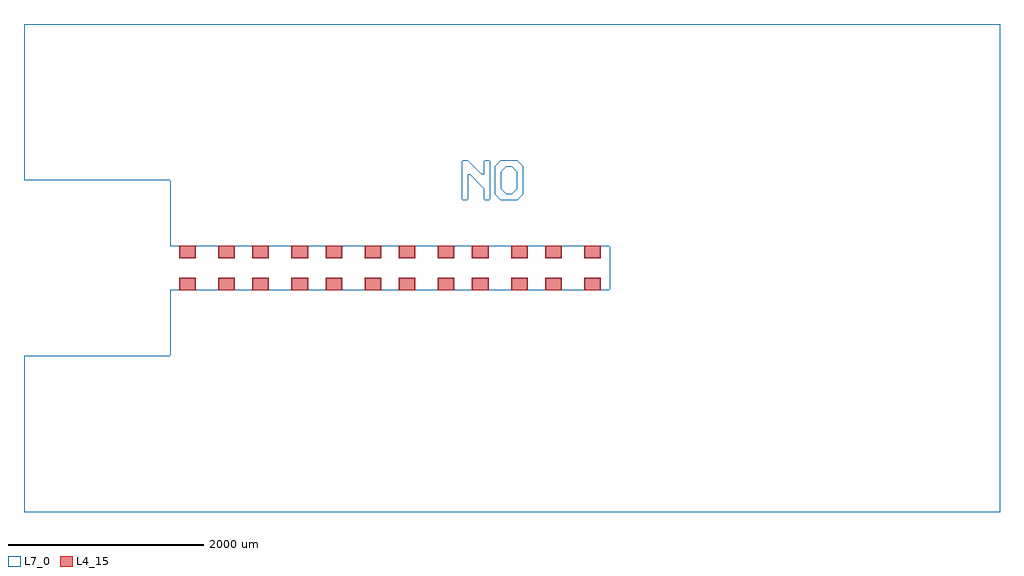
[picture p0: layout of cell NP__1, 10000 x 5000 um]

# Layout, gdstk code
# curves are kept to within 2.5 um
import gdstk
lib = gdstk.Library(unit=1e-6, precision=5e-09)
def R(c, l, rs):  # rectangles x0, y0, x1, y1
    for r in rs: c.add(gdstk.rectangle(r[:2], r[2:], *l))
def P(c, l, *ps):  # polygons
    for p in ps: c.add(gdstk.Polygon(p, *l))
L4_15 = (4, 15)
L7_0 = (7, 0)

np__1 = lib.new_cell('NP__1')
R(np__1, L4_15, [(7590,1270,7760,1400), (7990,1270,8160,1400), (8340,1270,8510,1400), (8740,1270,8910,1400), (9090,1270,9260,1400), (9490,1270,9660,1400), (9840,1270,10010,1400), (10240,1270,10410,1400), (10590,1270,10760,1400), (10990,1270,11160,1400), (11340,1270,11510,1400), (11740,1270,11910,1400), (7590,1600,7760,1730), (7990,1600,8160,1730), (8340,1600,8510,1730), (8740,1600,8910,1730), (9090,1600,9260,1730), (9490,1600,9660,1730), (9840,1600,10010,1730), (10240,1600,10410,1730), (10590,1600,10760,1730), (10990,1600,11160,1730), (11340,1600,11510,1730), (11740,1600,11910,1730)])
P(np__1, L7_0, [(10942,2200),(10770,2200),(10770,2600),(10714,2600),(10714,2460),(10686,2460),(10546,2600),(10490,2600),(10490,2200),(10546,2200),(10595,1725),(10405,1725),(10405,1605),(10245,1605),(10245,1725),(10005,1725),(10005,1605),(9845,1605),(9845,1725),(9655,1725),(9655,1605),(9495,1605),(9495,1725),(9255,1725),(9255,1605),(9095,1605),(9095,1725),(8905,1725),(8905,1605),(8745,1605),(8745,1725),(8505,1725),(8505,1605),(8345,1605),(8345,1725),(8155,1725),(8155,1605),(7995,1605),(7995,1725),(7755,1725),(7755,1605),(7595,1605),(7595,1725),(7500,1725),(7500,2400),(6000,2400),(6000,4000),(16000,4000),(16000,-1000),(6000,-1000),(6000,600),(7500,600),(7500,1275),(7595,1275),(7595,1395),(7755,1395),(7755,1275),(7995,1275),(7995,1395),(8155,1395),(8155,1275),(8345,1275),(8345,1395),(8505,1395),(8505,1275),(8745,1275),(8745,1395),(8905,1395),(8905,1275),(9095,1275),(9095,1395),(9255,1395),(9255,1275),(9495,1275),(9495,1395),(9655,1395),(9655,1275),(9845,1275),(9845,1395),(10005,1395),(10005,1275),(10245,1275),(10245,1395),(10405,1395),(10405,1275),(10595,1275),(10595,1395),(10755,1395),(10755,1275),(10995,1275),(10995,1395),(11155,1395),(11155,1275),(11345,1275),(11345,1395),(11505,1395),(11505,1275),(11745,1275),(11745,1395),(11905,1395),(11905,1275),(12000,1275),(12000,1725),(11905,1725),(11905,1605),(11745,1605),(11745,1725),(11505,1725),(11505,1605),(11345,1605),(11345,1725),(11155,1725),(11155,1605),(10995,1605),(10995,1725),(10755,1725),(10755,1605),(10595,1605),(10595,1725),(10546,2200),(10546,2460),(10574,2460),(10714,2312),(10714,2200),(11054,2200),(11110,2256),(11110,2544),(11054,2600),(10886,2600),(10830,2544),(10830,2256),(10886,2200)],
  [(10942,2256),(10886,2312),(10886,2488),(10942,2544),(10998,2544),(11054,2488),(11054,2312),(10998,2256)])

lib.write_gds('NP__1.gds')
